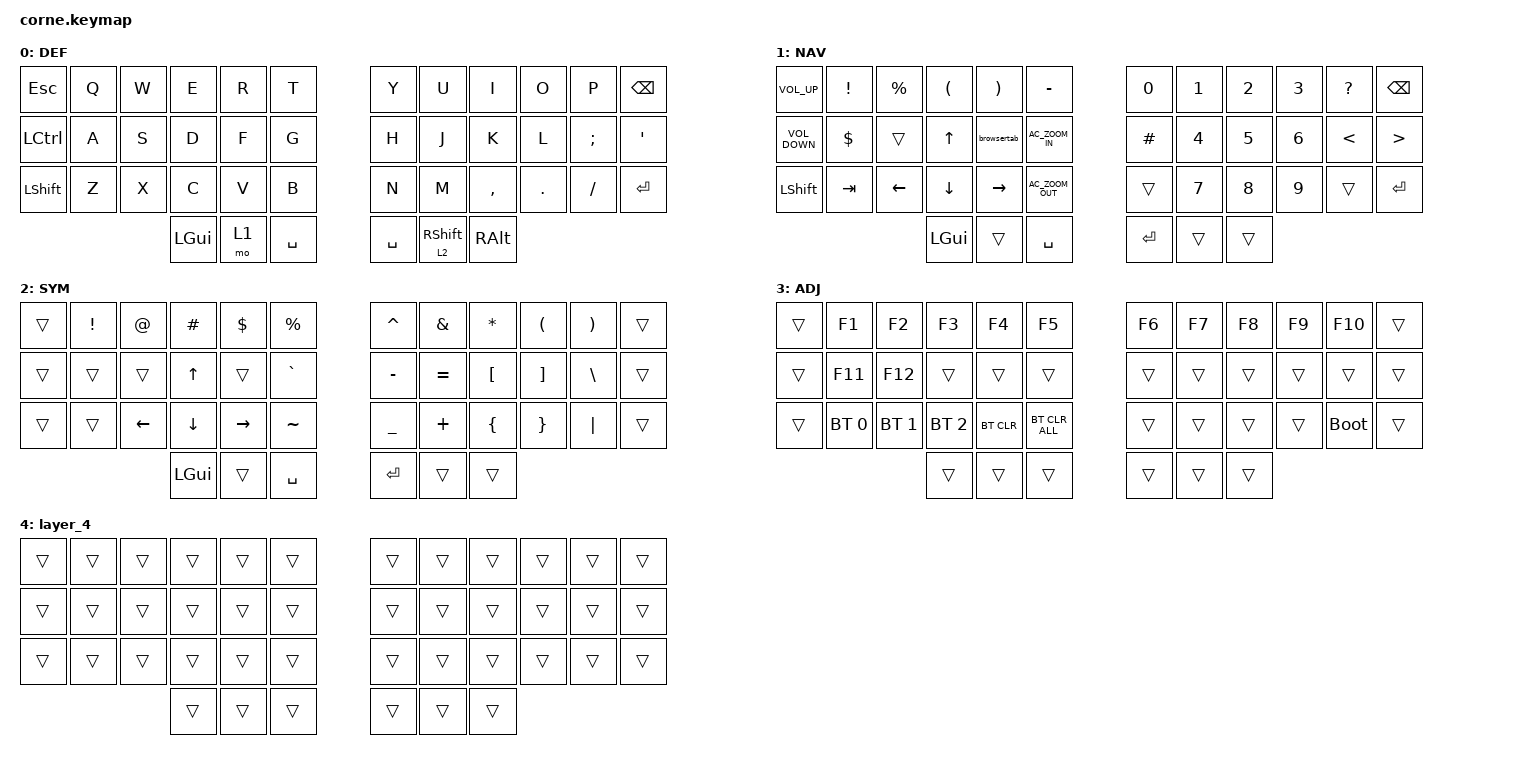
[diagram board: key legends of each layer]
#include <behaviors.dtsi>
#include <dt-bindings/zmk/bt.h>
#include <dt-bindings/zmk/keys.h>

#define DEF 0
#define NAV 1
#define SYM 2
#define ADJ 3

/ {
    behaviors {
        hm: homerow_mods {
            compatible = "zmk,behavior-hold-tap";
            label = "HOMEROW_MODS";
            #binding-cells = <2>;
            tapping-term-ms = <200>;
            quick_tap_ms = <0>;
            flavor = "tap-preferred";
            bindings = <&kp>, <&kp>;

            quick-tap-ms = <180>;
            global-quick-tap;
        };

        para: para {
            compatible = "zmk,behavior-tap-dance";
            label = "PARA";
            #binding-cells = <0>;
            bindings = <&kp LEFT_PARENTHESIS>, <&kp RIGHT_PARENTHESIS>;
        };

        caps: caps {
            compatible = "zmk,behavior-caps-word";
            label = "CAPS";
            #binding-cells = <0>;
            continue-list = <MINUS BACKSPACE>;
        };

        paraless: paraless {
            compatible = "zmk,behavior-mod-morph";
            label = "PARALESS";
            bindings = <&kp LEFT_PARENTHESIS>, <&kp LESS_THAN>;

            #binding-cells = <0>;
            mods = <(MOD_LSFT)>;
        };

        paragreat: paragreat {
            compatible = "zmk,behavior-mod-morph";
            label = "PARAGREAT";
            bindings = <&kp RIGHT_PARENTHESIS>, <&kp GREATER_THAN>;

            #binding-cells = <0>;
            mods = <(MOD_LSFT)>;
        };
    };

    macros {
        browsertab: browsertab {
            compatible = "zmk,behavior-macro";
            #binding-cells = <0>;
            bindings =
                <&macro_press>,
                <&kp LCTRL>,
                <&macro_tap>,
                <&kp TAB>,
                <&macro_release>,
                <&kp LCTRL>;
        };
    };

    combos {
        compatible = "zmk,combos";

        escape {
            bindings = <&kp ESCAPE>;
            key-positions = <13 29>;
        };

        delete {
            bindings = <&kp DELETE>;
            key-positions = <15 21>;
        };

        perc {
            bindings = <&kp PERCENT>;
            key-positions = <5 17>;
        };

        equal {
            bindings = <&kp EQUAL>;
            key-positions = <28 16>;
        };

        dollar {
            bindings = <&kp DOLLAR>;
            key-positions = <4 16>;
        };

        pound {
            bindings = <&kp POUND>;
            key-positions = <3 15>;
        };

        at {
            bindings = <&kp AT>;
            key-positions = <2 14>;
        };

        backslash {
            bindings = <&kp BACKSLASH>;
            key-positions = <26 14>;
        };

        copy {
            bindings = <&kp K_COPY>;
            key-positions = <28 27>;
        };

        paste {
            bindings = <&kp K_PASTE>;
            key-positions = <26 27>;
        };

        star {
            bindings = <&kp STAR>;
            key-positions = <8 20>;
        };

        slash {
            bindings = <&kp SLASH>;
            key-positions = <32 20>;
        };

        plus {
            bindings = <&kp PLUS>;
            key-positions = <7 19>;
        };

        minus {
            bindings = <&kp KP_MINUS>;
            key-positions = <31 19>;
        };

        underscore {
            bindings = <&kp UNDER>;
            key-positions = <30 18>;
        };

        leftbrack {
            bindings = <&kp LEFT_BRACKET>;
            key-positions = <31 32>;
        };

        rightbrack {
            bindings = <&kp RIGHT_BRACKET>;
            key-positions = <33 32>;
        };

        para-less {
            bindings = <&paraless>;
            key-positions = <20 19>;
        };

        para-great {
            bindings = <&paragreat>;
            key-positions = <20 21>;
        };

        gb {
            bindings = <&kp AMPERSAND>;
            key-positions = <29 17>;
        };
    };

    //

    keymap {
        compatible = "zmk,keymap";

        DEF {
            // -----------------------------------------------------------------------------------------
            // |  Q  |  W  |  E  |  R  |  T  |   |  Y  |  U   |  I  |  O  |  P  |
            // |  A  |  S  |  D  |  F  |  G  |   |  H  |  J   |  K  |  L  |  ;  |
            // |  Z  |  X  |  C  |  V  |  B  |   |  N  |  M   |  ,  |  .  |  /  |
            // | GUI | CTRL | SHFT | LWR | SPC |   | ENT | RSE  | BKSP | ALT | ESC |

            bindings = <
&kp ESC           &kp Q  &kp W  &kp E     &kp R  &kp T        &kp Y      &kp U              &kp I          &kp O    &kp P     &kp BACKSPACE
&kp LEFT_CONTROL  &kp A  &kp S  &kp D     &kp F  &kp G        &kp H      &kp J              &kp K          &kp L    &kp SEMI  &kp SQT
&kp LSHFT         &kp Z  &kp X  &kp C     &kp V  &kp B        &kp N      &kp M              &kp COMMA      &kp DOT  &kp FSLH  &kp ENTER
                                &kp LGUI  &mo 1  &kp SPACE    &kp SPACE  &lt 2 RIGHT_SHIFT  &kp RIGHT_ALT
            >;
        };

        NAV {
            // -----------------------------------------------------------------------------------------
            // |  TAB |  1  |  2  |  3  |  4  |  5  |   |  6  |  7  |  8  |  9  |  0  | BKSP |
            // | BTCLR| BT1 | BT2 | BT3 | BT4 | BT5 |   | LFT | DWN |  UP | RGT |     |      |
            // | SHFT |     |     |     |     |     |   |     |     |     |     |     |      |
            // | GUI | CTRL | SHFT | LWR | SPC |   | ENT | RSE  | BKSP | ALT | ESC |

            bindings = <
&kp C_VOLUME_UP    &kp EXCLAMATION  &kp PERCENT  &kp LEFT_PARENTHESIS  &kp RIGHT_PARENTHESIS  &kp MINUS            &kp NUMBER_0  &kp NUMBER_1  &kp NUMBER_2  &kp NUMBER_3  &kp QUESTION   &kp BACKSPACE
&kp C_VOLUME_DOWN  &kp DOLLAR       &trans       &kp UP_ARROW          &browsertab            &kp C_AC_ZOOM_IN     &kp HASH      &kp N4        &kp N5        &kp N6        &kp LESS_THAN  &kp GREATER_THAN
&kp LSHIFT         &kp TAB          &kp LEFT     &kp DOWN              &kp RIGHT_ARROW        &kp C_AC_ZOOM_OUT    &trans        &kp N7        &kp NUMBER_8  &kp NUMBER_9  &trans         &kp ENTER
                                                 &kp LGUI              &trans                 &kp SPACE            &kp RET       &trans        &trans
            >;
        };

        SYM {
            // -----------------------------------------------------------------------------------------
            // |  TAB |  !  |  @  |  #  |  $  |  %  |   |  ^  |  &  |  *  |  (  |  )  | BKSP |
            // | CTRL |     |     |     |     |     |   |  -  |  =  |  [  |  ]  |  \  |  `   |
            // | SHFT |     |     |     |     |     |   |  _  |  +  |  {  |  }  | "|" |  ~   |
            //                    | GUI |     | SPC |   | ENT |     | ALT |

            bindings = <
&trans  &kp EXCL  &kp AT          &kp HASH        &kp DLLR         &kp PRCNT    &kp CARET  &kp AMPS   &kp ASTRK  &kp LEFT_PARENTHESIS  &kp RPAR  &trans
&trans  &trans    &trans          &kp UP_ARROW    &trans           &kp GRAVE    &kp MINUS  &kp EQUAL  &kp LBKT   &kp RBKT              &kp BSLH  &trans
&trans  &trans    &kp LEFT_ARROW  &kp DOWN_ARROW  &kp RIGHT_ARROW  &kp TILDE    &kp UNDER  &kp PLUS   &kp LBRC   &kp RBRC              &kp PIPE  &trans
                                  &kp LGUI        &trans           &kp SPACE    &kp RET    &trans     &trans
            >;
        };

        ADJ {
            bindings = <
&trans  &kp F1        &kp F2        &kp F3        &kp F4      &kp F5            &kp F6  &kp F7  &kp F8  &kp F9  &kp F10      &trans
&trans  &kp F11       &kp F12       &trans        &trans      &trans            &trans  &trans  &trans  &trans  &trans       &trans
&trans  &bt BT_SEL 0  &bt BT_SEL 1  &bt BT_SEL 2  &bt BT_CLR  &bt BT_CLR_ALL    &trans  &trans  &trans  &trans  &bootloader  &trans
                                    &trans        &trans      &trans            &trans  &trans  &trans
            >;
        };

        layer_4 {
            bindings = <
&trans  &trans  &trans  &trans  &trans  &trans    &trans  &trans  &trans  &trans  &trans  &trans
&trans  &trans  &trans  &trans  &trans  &trans    &trans  &trans  &trans  &trans  &trans  &trans
&trans  &trans  &trans  &trans  &trans  &trans    &trans  &trans  &trans  &trans  &trans  &trans
                        &trans  &trans  &trans    &trans  &trans  &trans
            >;
        };
    };

    conditional_layers {
        compatible = "zmk,conditional-layers";

        l3 {
            if-layers = <1 2>;
            then-layer = <3>;
        };
    };
};
